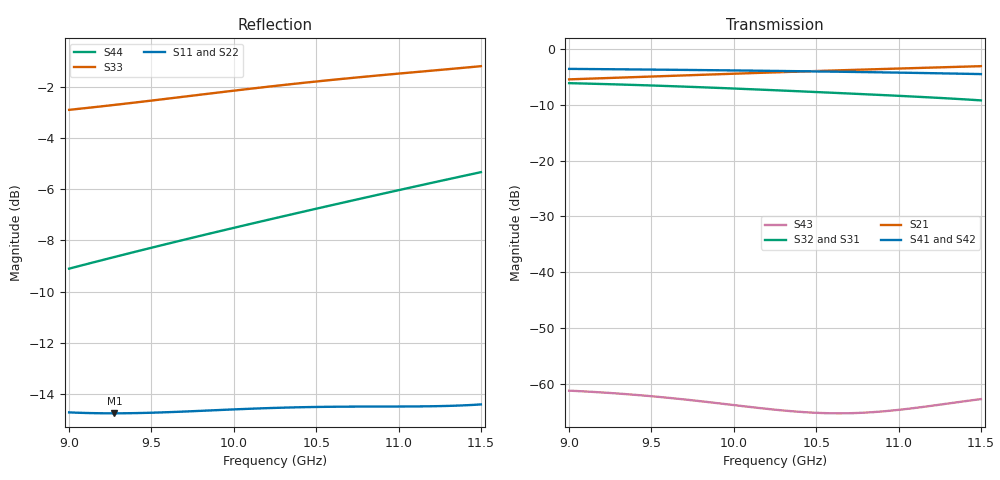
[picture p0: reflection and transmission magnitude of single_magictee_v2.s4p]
! Touchstone file exported from HFSS 2025.2.4
!  File:  C:/Users/chaoy/Documents/single_magictee_v2_stageA/g2_4p60mm_lt_7p50mm/single_magictee_v2.aedt
!  Generated:  02:56:34 PM Sep 19, 2026
!  Design:  SingleMagicT_v2
!  Project:  single_magictee_v2
! Variables:
!  f_adapt = 10.2GHz
!  ridge_g1 = 7.672mm
!  ridge_g2 = 4.6mm
!  ridge_l1 = 9.872mm
!  ridge_l2 = 8.857mm
!  ridge_w = 4.572mm
!  terminal_ridge_len = 7.5mm
!  wg_a = 22.86mm
!  wg_b = 10.16mm
!Data is not renormalized
# GHz S MA
! Terminal data exported
! Port[1] = P1_CollinearMinusX
! Port[2] = P2_CollinearPlusX
! Port[3] = P3_HArm_Ridged
! Port[4] = P4_EArm
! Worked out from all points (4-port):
!   101 points, 9 GHz to 11.5 GHz, reference per port
!   strongest paths, dB at 9 GHz, 9.625 GHz, 10.25 GHz, 10.88 GHz, 11.5 GHz:
!     S41: -3.6, -3.7, -3.9, -4.2, -4.5
!     S42: -3.6, -3.7, -3.9, -4.2, -4.5
!     S21: -5.5, -4.8, -4.2, -3.6, -3.1
!     S32: -6.1, -6.7, -7.4, -8.2, -9.2
!     S31: -6.1, -6.7, -7.4, -8.2, -9.2
!     S43: -61.2, -62.6, -64.7, -65.0, -62.8
!   lowest |S11| = -14.8 dB at 9.275 GHz (marker M1), VSWR 1.45
!   |S11| at or under -10 dB: start of sweep to end of sweep
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9  0.1835 -159.6  0.5337 -160.0  0.4928 90.9  0.6623 45.3
   0.5337 -160.0  0.1827 -159.2  0.4934 91.0  0.6621 -134.6
   0.4928 90.9  0.4934 91.0  0.7168 161.8  0.0008664 141.9
   0.6623 45.3  0.6621 -134.6  0.0008664 141.9  0.3506 -109.0
9.275  0.1828 173.2  0.5509 168.6  0.4808 56.8  0.6572 13.7
       0.5509 168.6  0.1821 173.6  0.4814 56.8  0.657 -166.2
       0.4808 56.8  0.4814 56.8  0.7329 123.8  0.0008206 105.3
       0.6572 13.7  0.657 -166.2  0.0008206 105.3  0.3695 -138.7
9.725  0.1844 129.4  0.5807 118.7  0.4572 2.0  0.6479 -36.3
       0.5807 118.7  0.1841 129.8  0.4578 2.0  0.6475 143.8
       0.4572 2.0  0.4578 2.0  0.7624 62.6  0.0007159 48.1
       0.6479 -36.3  0.6475 143.8  0.0007159 48.1  0.4013 173.7
10.275  0.1874 76.2  0.6183 59.7  0.4241 -63.3  0.6346 -95.4
        0.6183 59.7  0.1879 76.5  0.4247 -63.3  0.634 84.7
        0.4241 -63.3  0.4247 -63.3  0.7999 -10.2  0.0005802 -12.6
        0.6346 -95.4  0.634 84.7  0.0005802 -12.6  0.4419 116.7
10.9  0.1884 16.7  0.6603 -5.7  0.3854 -136.4  0.6164 -160.7
      0.6603 -5.7  0.1898 17.0  0.3861 -136.4  0.6156 19.5
      0.3854 -136.4  0.3861 -136.4  0.8381 -92.0  0.0005641 -69.0
      0.6164 -160.7  0.6156 19.5  0.0005641 -69.0  0.491 53.0
11.175  0.1886 -8.8  0.6785 -34.0  0.368 -168.8  0.6071 171.0
        0.6785 -34.0  0.1902 -8.5  0.3687 -168.7  0.6062 -8.8
        0.368 -168.8  0.3687 -168.7  0.8536 -129.0  0.0006266 -96.5
        0.6071 171.0  0.6062 -8.8  0.0006266 -96.5  0.5137 25.2
11.5  0.1902 -38.3  0.7005 -67.1  0.3452 152.1  0.595 137.6
      0.7005 -67.1  0.1918 -37.9  0.3458 152.1  0.5941 -42.2
      0.3452 152.1  0.3458 152.1  0.8725 -174.7  0.0007276 -134.8
      0.595 137.6  0.5941 -42.2  0.0007276 -134.8  0.5414 -7.6
